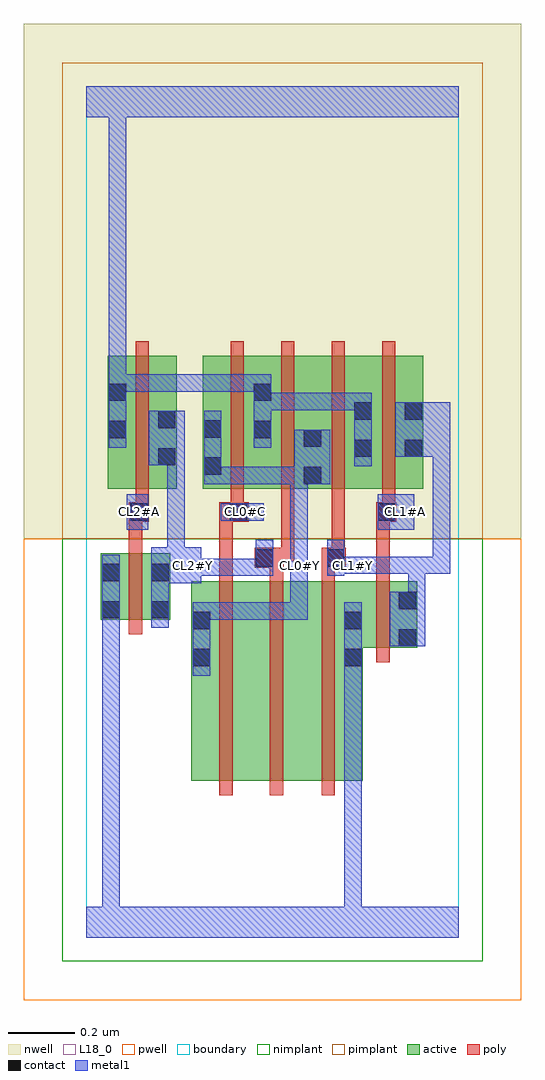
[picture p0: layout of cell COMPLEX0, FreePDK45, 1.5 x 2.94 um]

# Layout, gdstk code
import gdstk
lib = gdstk.Library(unit=1e-6, precision=1e-09)
def R(c, l, rs):  # rectangles x0, y0, x1, y1
    for r in rs: c.add(gdstk.rectangle(r[:2], r[2:], *l))
def A(c, l, x, y, w, h, nx, ny, dx, dy):  # array of equal rectangles
    R(c, l, [(x+i*dx, y+j*dy, x+i*dx+w, y+j*dy+h) for i in range(nx) for j in range(ny)])
active = (1, 0)
pwell = (2, 0)
nwell = (3, 0)
nimplant = (4, 0)
pimplant = (5, 0)
poly = (9, 0)
contact = (10, 0)
metal1 = (11, 0)
L18_0 = (18, 0)
boundary = (235, 0)

complex0 = lib.new_cell('COMPLEX0')
A(complex0, active, 0.65, 1.35, 0.06, 0.294, 3, 1, 0.152, 0)
R(complex0, active, [(0.316,0.472,0.496,1.072), (0.496,0.472,0.648,1.072), (0.648,0.472,0.832,1.072), (0.772,0.472,0.832,1.072), (0.316,0.556,0.376,1.072), (0.772,0.872,0.996,1.072), (0.936,0.872,0.996,1.072), (0.044,0.956,0.104,1.156), (0.044,0.956,0.252,1.156), (0.192,0.956,0.252,1.156), (0.064,1.35,0.124,1.75), (0.064,1.35,0.272,1.75), (0.212,1.35,0.272,1.644), (0.35,1.35,0.41,1.644), (0.35,1.35,0.56,1.75), (0.5,1.35,0.71,1.75), (0.5,1.35,0.56,1.75), (0.65,1.35,0.862,1.75), (0.802,1.35,1.014,1.75)])
R(complex0, pwell, [(-0.188,-0.188,1.308,1.2)])
R(complex0, nwell, [(-0.188,1.2,1.308,2.748)])
R(complex0, nimplant, [(-0.072,-0.072,1.192,1.2)])
R(complex0, pimplant, [(-0.072,1.2,1.192,2.632)])
A(complex0, poly, 0.434, 1.306, 0.04, 0.488, 4, 1, 0.152, 0)
R(complex0, poly, [(0.4,0.428,0.44,1.116), (0.552,0.428,0.592,1.116), (0.708,0.428,0.748,1.116), (0.872,0.828,0.912,1.116), (0.128,0.912,0.168,1.2), (0.4,1.076,0.44,1.29), (0.552,1.076,0.592,1.152), (0.708,1.076,0.748,1.152), (0.872,1.076,0.912,1.29), (0.506,1.112,0.594,1.172), (0.708,1.112,0.78,1.172), (0.554,1.132,0.594,1.172), (0.554,1.132,0.626,1.172), (0.586,1.132,0.626,1.346), (0.738,1.132,0.778,1.172), (0.738,1.132,0.778,1.172), (0.738,1.132,0.778,1.346), (0.128,1.16,0.168,1.29), (0.128,1.25,0.168,1.29), (0.128,1.25,0.168,1.29), (0.128,1.25,0.188,1.31), (0.4,1.25,0.44,1.29), (0.4,1.25,0.44,1.29), (0.4,1.25,0.488,1.31), (0.872,1.25,0.912,1.29), (0.872,1.25,0.912,1.29), (0.872,1.25,0.932,1.31), (0.148,1.27,0.188,1.346), (0.434,1.27,0.474,1.346), (0.89,1.27,0.93,1.346), (0.148,1.306,0.188,1.794)])
R(complex0, contact, [(0.32,0.816,0.372,0.868), (0.776,0.816,0.828,0.868), (0.94,0.876,0.992,0.928), (0.32,0.928,0.372,0.98), (0.776,0.928,0.828,0.98), (0.048,0.96,0.1,1.012), (0.196,0.96,0.248,1.012), (0.94,0.988,0.992,1.04), (0.048,1.072,0.1,1.124), (0.196,1.072,0.248,1.124), (0.51,1.116,0.562,1.168), (0.724,1.116,0.776,1.168), (0.132,1.254,0.184,1.306), (0.432,1.254,0.484,1.306), (0.876,1.254,0.928,1.306), (0.654,1.364,0.706,1.416), (0.354,1.392,0.406,1.444), (0.216,1.42,0.268,1.472), (0.806,1.446,0.858,1.498), (0.958,1.446,1.01,1.498), (0.654,1.476,0.706,1.528), (0.068,1.502,0.12,1.554), (0.504,1.502,0.556,1.554), (0.354,1.504,0.406,1.556), (0.216,1.532,0.268,1.584), (0.806,1.558,0.858,1.61), (0.958,1.558,1.01,1.61), (0.068,1.614,0.12,1.666), (0.504,1.614,0.556,1.666)])
R(complex0, metal1, [(0,0,1.12,0.092), (0.048,0.04,0.1,0.092), (0.048,0.04,0.1,0.092), (0.048,0.04,0.1,0.092), (0.048,0.04,0.1,0.092), (0.048,0.04,0.1,0.092), (0.048,0.04,0.1,0.092), (0.048,0.04,0.1,0.092), (0.048,0.04,0.1,0.092), (0.048,0.04,0.1,0.092), (0.048,0.04,0.1,0.092), (0.048,0.04,0.1,0.092), (0.048,0.04,0.1,0.092), (0.048,0.04,0.1,0.092), (0.048,0.04,0.1,0.092), (0.048,0.04,0.1,0.984), (0.776,0.04,0.828,0.092), (0.776,0.04,0.828,0.092), (0.776,0.04,0.828,0.092), (0.776,0.04,0.828,0.092), (0.776,0.04,0.828,0.092), (0.776,0.04,0.828,0.092), (0.776,0.04,0.828,0.092), (0.776,0.04,0.828,0.092), (0.776,0.04,0.828,0.84), (0.32,0.788,0.372,1.008), (0.776,0.788,0.828,1.008), (0.912,0.876,1.02,1.04), (0.048,0.932,0.1,0.984), (0.048,0.932,0.1,0.984), (0.048,0.932,0.1,1.152), (0.196,0.932,0.248,1.152), (0.32,0.956,0.454,1.008), (0.402,0.956,0.454,1.008), (0.402,0.956,0.548,1.008), (0.496,0.956,0.548,1.008), (0.496,0.956,0.666,1.008), (0.614,0.956,0.666,1.008), (0.614,0.956,0.666,1.008), (0.614,0.956,0.666,1.008), (0.614,0.956,0.666,1.118), (0.968,0.988,1.02,1.146), (0.196,1.066,0.248,1.118), (0.196,1.066,0.346,1.174), (0.614,1.066,0.666,1.174), (0.294,1.088,0.346,1.14), (0.294,1.088,0.346,1.14), (0.294,1.088,0.454,1.14), (0.402,1.088,0.454,1.14), (0.402,1.088,0.548,1.14), (0.496,1.088,0.548,1.14), (0.496,1.088,0.562,1.14), (0.51,1.088,0.562,1.196), (0.724,1.088,0.776,1.196), (0.724,1.094,0.798,1.146), (0.746,1.094,0.854,1.146), (0.802,1.094,1.02,1.146), (0.968,1.094,1.02,1.146), (0.968,1.094,1.02,1.146), (0.968,1.094,1.094,1.146), (1.042,1.094,1.094,1.498), (1.042,1.094,1.094,1.146), (1.042,1.094,1.094,1.146), (0.244,1.122,0.296,1.472), (0.614,1.122,0.666,1.416), (0.122,1.226,0.186,1.334), (0.876,1.226,0.986,1.334), (0.404,1.254,0.534,1.306), (0.354,1.364,0.406,1.584), (0.354,1.364,0.454,1.416), (0.402,1.364,0.454,1.416), (0.402,1.364,0.548,1.416), (0.496,1.364,0.548,1.416), (0.496,1.364,0.564,1.416), (0.512,1.364,0.564,1.416), (0.512,1.364,0.678,1.416), (0.614,1.364,0.678,1.416), (0.626,1.364,0.678,1.416), (0.626,1.364,0.734,1.528), (0.806,1.418,0.858,1.638), (0.188,1.42,0.296,1.584), (0.244,1.42,0.296,1.472), (0.244,1.42,0.296,1.472), (0.93,1.446,1.094,1.61), (0.068,1.474,0.12,1.694), (0.504,1.474,0.556,1.694), (0.504,1.586,0.666,1.638), (0.614,1.586,0.666,1.638), (0.614,1.586,0.666,1.638), (0.614,1.586,0.666,1.638), (0.614,1.586,0.776,1.638), (0.724,1.586,0.776,1.638), (0.724,1.586,0.858,1.638), (0.068,1.642,0.12,1.694), (0.068,1.642,0.12,1.694), (0.068,1.642,0.12,1.694), (0.068,1.642,0.12,1.694), (0.068,1.642,0.12,1.694), (0.068,1.642,0.12,1.694), (0.068,1.642,0.12,1.694), (0.068,1.642,0.12,1.694), (0.068,1.642,0.12,1.694), (0.068,1.642,0.12,1.694), (0.068,1.642,0.236,1.694), (0.068,1.642,0.12,2.52), (0.184,1.642,0.236,1.694), (0.184,1.642,0.236,1.694), (0.184,1.642,0.236,1.694), (0.184,1.642,0.438,1.694), (0.386,1.642,0.438,1.694), (0.386,1.642,0.454,1.694), (0.402,1.642,0.454,1.694), (0.402,1.642,0.556,1.694), (0,2.468,1.12,2.56), (0.068,2.468,0.12,2.52), (0.068,2.468,0.12,2.52), (0.068,2.468,0.12,2.52), (0.068,2.468,0.12,2.52), (0.068,2.468,0.12,2.52), (0.068,2.468,0.12,2.52)])
R(complex0, L18_0, [(0,0,1.12,0.092), (0.048,0.04,0.1,0.092), (0.048,0.04,0.1,0.092), (0.048,0.04,0.1,0.092), (0.048,0.04,0.1,0.092), (0.048,0.04,0.1,0.092), (0.048,0.04,0.1,0.092), (0.048,0.04,0.1,0.092), (0.048,0.04,0.1,0.092), (0.048,0.04,0.1,0.092), (0.048,0.04,0.1,0.092), (0.048,0.04,0.1,0.092), (0.048,0.04,0.1,0.092), (0.048,0.04,0.1,0.092), (0.048,0.04,0.1,0.092), (0.048,0.04,0.1,0.984), (0.776,0.04,0.828,0.092), (0.776,0.04,0.828,0.092), (0.776,0.04,0.828,0.092), (0.776,0.04,0.828,0.092), (0.776,0.04,0.828,0.092), (0.776,0.04,0.828,0.092), (0.776,0.04,0.828,0.092), (0.776,0.04,0.828,0.092), (0.776,0.04,0.828,0.84), (0.32,0.788,0.372,1.008), (0.776,0.788,0.828,1.008), (0.912,0.876,1.02,1.04), (0.048,0.932,0.1,0.984), (0.048,0.932,0.1,0.984), (0.048,0.932,0.1,1.152), (0.196,0.932,0.248,1.152), (0.32,0.956,0.454,1.008), (0.402,0.956,0.454,1.008), (0.402,0.956,0.548,1.008), (0.496,0.956,0.548,1.008), (0.496,0.956,0.666,1.008), (0.614,0.956,0.666,1.008), (0.614,0.956,0.666,1.008), (0.614,0.956,0.666,1.008), (0.614,0.956,0.666,1.118), (0.968,0.988,1.02,1.146), (0.196,1.066,0.248,1.118), (0.196,1.066,0.346,1.174), (0.614,1.066,0.666,1.174), (0.294,1.088,0.346,1.14), (0.294,1.088,0.346,1.14), (0.294,1.088,0.454,1.14), (0.402,1.088,0.454,1.14), (0.402,1.088,0.548,1.14), (0.496,1.088,0.548,1.14), (0.496,1.088,0.562,1.14), (0.51,1.088,0.562,1.196), (0.724,1.088,0.776,1.196), (0.294,1.094,0.346,1.146), (0.614,1.094,0.666,1.146), (0.724,1.094,0.798,1.146), (0.746,1.094,0.854,1.146), (0.774,1.094,0.826,1.146), (0.802,1.094,1.02,1.146), (0.968,1.094,1.02,1.146), (0.968,1.094,1.02,1.146), (0.968,1.094,1.094,1.146), (1.042,1.094,1.094,1.146), (1.042,1.094,1.094,1.146), (1.042,1.094,1.094,1.498), (0.244,1.122,0.296,1.472), (0.614,1.122,0.666,1.416), (0.122,1.226,0.186,1.334), (0.876,1.226,0.986,1.334), (0.134,1.254,0.186,1.306), (0.404,1.254,0.534,1.306), (0.454,1.254,0.506,1.306), (0.934,1.254,0.986,1.306), (0.354,1.364,0.406,1.584), (0.354,1.364,0.454,1.416), (0.402,1.364,0.454,1.416), (0.402,1.364,0.548,1.416), (0.496,1.364,0.548,1.416), (0.496,1.364,0.564,1.416), (0.512,1.364,0.564,1.416), (0.512,1.364,0.678,1.416), (0.614,1.364,0.678,1.416), (0.626,1.364,0.678,1.416), (0.626,1.364,0.734,1.528), (0.806,1.418,0.858,1.638), (0.188,1.42,0.296,1.584), (0.244,1.42,0.296,1.472), (0.244,1.42,0.296,1.472), (0.93,1.446,1.094,1.61), (0.068,1.474,0.12,1.694), (0.504,1.474,0.556,1.694), (0.504,1.586,0.666,1.638), (0.614,1.586,0.666,1.638), (0.614,1.586,0.666,1.638), (0.614,1.586,0.666,1.638), (0.614,1.586,0.776,1.638), (0.724,1.586,0.776,1.638), (0.724,1.586,0.858,1.638), (0.068,1.642,0.12,1.694), (0.068,1.642,0.12,1.694), (0.068,1.642,0.12,1.694), (0.068,1.642,0.12,1.694), (0.068,1.642,0.12,1.694), (0.068,1.642,0.12,1.694), (0.068,1.642,0.12,1.694), (0.068,1.642,0.12,1.694), (0.068,1.642,0.12,1.694), (0.068,1.642,0.12,1.694), (0.068,1.642,0.12,2.52), (0.068,1.642,0.236,1.694), (0.184,1.642,0.236,1.694), (0.184,1.642,0.236,1.694), (0.184,1.642,0.236,1.694), (0.184,1.642,0.438,1.694), (0.386,1.642,0.438,1.694), (0.386,1.642,0.454,1.694), (0.402,1.642,0.454,1.694), (0.402,1.642,0.556,1.694), (0,2.468,1.12,2.56), (0.068,2.468,0.12,2.52), (0.068,2.468,0.12,2.52), (0.068,2.468,0.12,2.52), (0.068,2.468,0.12,2.52), (0.068,2.468,0.12,2.52), (0.068,2.468,0.12,2.52)])
R(complex0, boundary, [(0,0,1.12,2.56)])
complex0.add(gdstk.Label('CL0#C', (0.48,1.28), layer=11, texttype=0))
complex0.add(gdstk.Label('CL0#Y', (0.64,1.12), layer=11, texttype=0))
complex0.add(gdstk.Label('CL1#A', (0.96,1.28), layer=11, texttype=0))
complex0.add(gdstk.Label('CL1#Y', (0.8,1.12), layer=11, texttype=0))
complex0.add(gdstk.Label('CL2#A', (0.16,1.28), layer=11, texttype=0))
complex0.add(gdstk.Label('CL2#Y', (0.32,1.12), layer=11, texttype=0))

lib.write_gds('COMPLEX0.gds')
